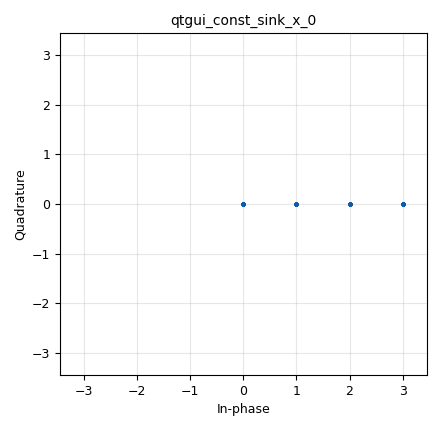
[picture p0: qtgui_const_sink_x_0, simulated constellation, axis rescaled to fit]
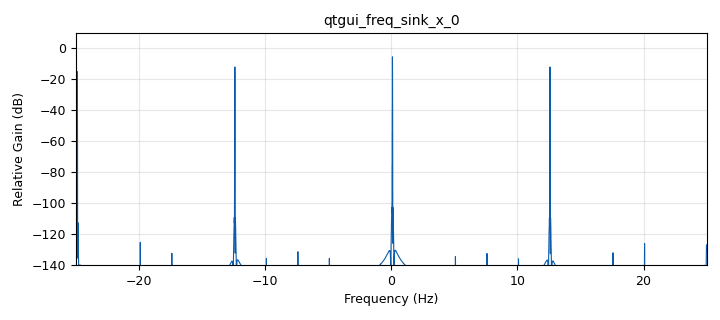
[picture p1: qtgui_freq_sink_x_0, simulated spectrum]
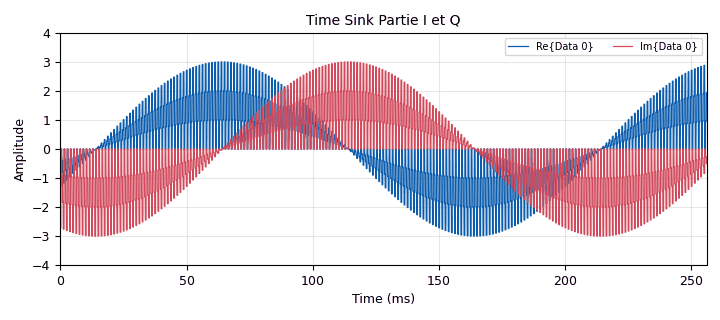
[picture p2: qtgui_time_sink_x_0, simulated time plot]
options:
  parameters:
    generate_options: qt_gui
    id: QPSK
    output_language: python
    title: Not titled yet
  states: {}

blocks:
- name: Fc
  id: variable
  parameters:
    value: Fs
  states: {}
- name: Fs
  id: variable
  parameters:
    value: '50'
  states: {}
- name: Rs
  id: variable
  parameters:
    value: '32000'
  states: {}
- name: analog_sig_source_x_0
  id: analog_sig_source_x
  parameters:
    amp: '1'
    freq: Fc
    offset: '0'
    phase: '0'
    samp_rate: Rs
    type: complex
    waveform: analog.GR_COS_WAVE
  states: {}
- name: analog_sig_source_x_0_0
  id: analog_sig_source_x
  parameters:
    amp: '1'
    freq: Fc
    offset: '0'
    phase: '0'
    samp_rate: Rs
    type: complex
    waveform: analog.GR_SIN_WAVE
  states: {}
- name: blocks_add_xx_0
  id: blocks_add_xx
  parameters:
    type: complex
  states: {}
- name: blocks_complex_to_float_0
  id: blocks_complex_to_float
  parameters: {}
  states: {}
- name: blocks_float_to_complex_0
  id: blocks_float_to_complex
  parameters: {}
  states: {}
- name: blocks_float_to_complex_0_0
  id: blocks_float_to_complex
  parameters: {}
  states: {}
- name: blocks_multiply_xx_0
  id: blocks_multiply_xx
  parameters:
    type: complex
  states: {}
- name: blocks_multiply_xx_0_1
  id: blocks_multiply_xx
  parameters:
    type: complex
  states: {}
- name: blocks_repeat_0
  id: blocks_repeat
  parameters:
    interp: '10'
    type: complex
  states: {}
- name: blocks_throttle2_0
  id: blocks_throttle2
  parameters:
    samples_per_second: Rs
    type: complex
  states: {}
- name: blocks_vector_source_x_0
  id: blocks_vector_source_x
  parameters:
    repeat: 'True'
    type: int
    vector: (0, 1, 2, 3)
  states: {}
- name: epy_block_1
  id: epy_block
  parameters:
    _source_code: |-
      import numpy as np
      from gnuradio import gr

      class blk(gr.sync_block):
          def __init__(self, echantillons_sec=128):
              gr.sync_block.__init__(
                  self,
                  name='Mapping Phase QPSK',
                  in_sig=[np.int32],      
                  out_sig=[np.complex64]
              )
              self.symbols = [1+1j, -1+1j, 1-1j, -1-1j] 

          def work(self, input_items, output_items):
              in0 = input_items[0]  
              out = output_items[0]         
              for i in range(len(in0)):
                  out[i] = in0[i]
                  
              return len(out)
    echantillons_sec: Rs
  states: {}
- name: import_1
  id: import
  parameters: {}
  states: {}
- name: qtgui_const_sink_x_0
  id: qtgui_const_sink_x
  parameters:
    size: '1024'
    type: complex
  states: {}
- name: qtgui_freq_sink_x_0
  id: qtgui_freq_sink_x
  parameters:
    bw: Fs
    fc: '0'
    fftsize: '8192'
    type: complex
  states: {}
- name: qtgui_time_sink_x_0
  id: qtgui_time_sink_x
  parameters:
    name: Time Sink Partie I et Q
    size: '8192'
    srate: Rs
    type: complex
    ymax: '4'
    ymin: '-4'
  states: {}

connections:
- [analog_sig_source_x_0, '0', blocks_multiply_xx_0, '0']
- [analog_sig_source_x_0_0, '0', blocks_multiply_xx_0_1, '0']
- [blocks_add_xx_0, '0', blocks_throttle2_0, '0']
- [blocks_complex_to_float_0, '0', blocks_float_to_complex_0, '0']
- [blocks_complex_to_float_0, '1', blocks_float_to_complex_0_0, '0']
- [blocks_float_to_complex_0, '0', blocks_multiply_xx_0, '1']
- [blocks_float_to_complex_0_0, '0', blocks_multiply_xx_0_1, '1']
- [blocks_multiply_xx_0, '0', blocks_add_xx_0, '0']
- [blocks_multiply_xx_0_1, '0', blocks_add_xx_0, '1']
- [blocks_repeat_0, '0', qtgui_time_sink_x_0, '0']
- [blocks_throttle2_0, '0', blocks_repeat_0, '0']
- [blocks_throttle2_0, '0', qtgui_freq_sink_x_0, '0']
- [blocks_vector_source_x_0, '0', epy_block_1, '0']
- [epy_block_1, '0', blocks_complex_to_float_0, '0']
- [epy_block_1, '0', qtgui_const_sink_x_0, '0']

metadata:
  file_format: 1
  grc_version: 3.10.12.0
